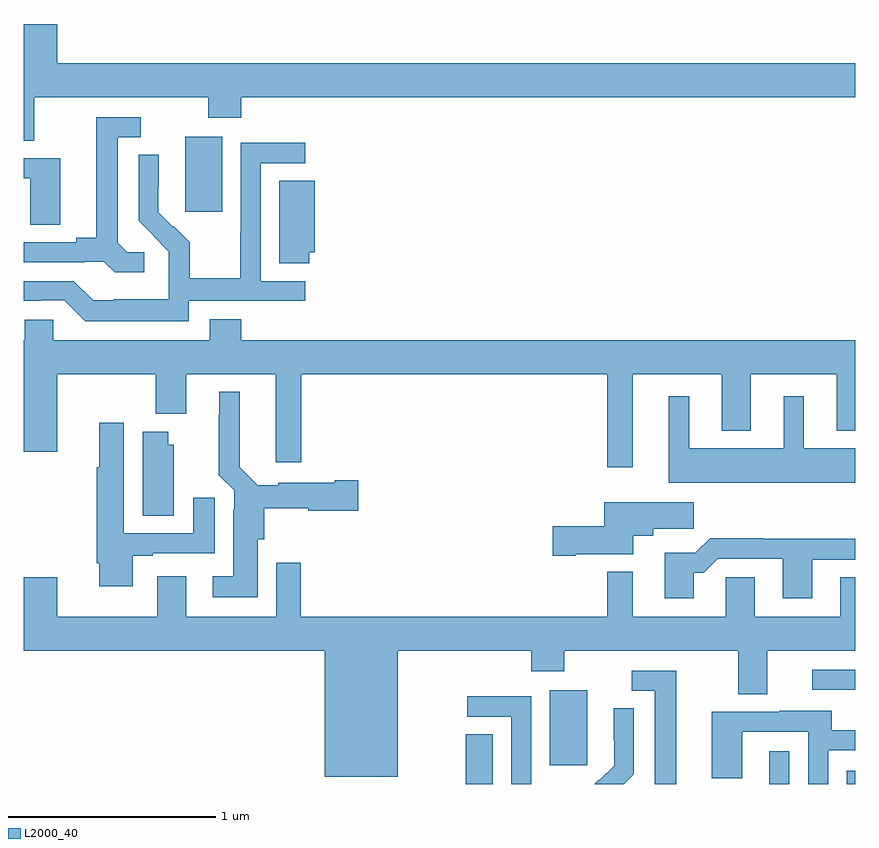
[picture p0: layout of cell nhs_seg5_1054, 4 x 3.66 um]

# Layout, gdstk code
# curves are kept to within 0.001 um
import gdstk
lib = gdstk.Library(unit=1e-6, precision=1e-09)
def R(c, l, rs):  # rectangles x0, y0, x1, y1
    for r in rs: c.add(gdstk.rectangle(r[:2], r[2:], *l))
def P(c, l, *ps):  # polygons
    for p in ps: c.add(gdstk.Polygon(p, *l))
L2000_40 = (2000, 40)

nhs_seg5_1054 = lib.new_cell('nhs_seg5_1054')
R(nhs_seg5_1054, L2000_40, [(179.126,842.799,179.257,843.038), (180.587,842.799,180.684,842.956), (180.96,842.799,181,842.862), (179.531,842.889,179.71,843.25), (180.795,843.252,181,843.348), (177.776,845.553,177.955,845.914)])
P(nhs_seg5_1054, L2000_40, [(177.049,846.104),(177.886,846.104),(177.886,846.005),(178.046,846.005),(178.046,846.104),(181,846.104),(181,846.268),(177.16,846.268),(177.16,846.457),(177,846.457),(177,845.896),(177.049,845.896)],
  [(177.58,845.358),(177.498,845.358),(177.451,845.405),(177.451,845.913),(177.562,845.913),(177.562,846.009),(177.347,846.009),(177.347,845.429),(177.251,845.429),(177.251,845.406),(177,845.406),(177,845.31),(177.29,845.31),(177.29,845.313),(177.384,845.313),(177.436,845.261),(177.58,845.261)],
  [(177.792,845.124),(178.354,845.124),(178.354,845.22),(178.14,845.22),(178.14,845.787),(178.354,845.787),(178.354,845.886),(178.044,845.886),(178.044,845.456),(178.042,845.456),(178.042,845.233),(177.797,845.233),(177.797,845.407),(177.72,845.484),(177.717,845.481),(177.647,845.552),(177.648,845.828),(177.552,845.828),(177.552,845.51),(177.698,845.362),(177.698,845.265),(177.696,845.265),(177.696,845.131),(177.433,845.131),(177.433,845.127),(177.333,845.127),(177.24,845.22),(177,845.22),(177,845.124),(177.08,845.124),(177.08,845.127),(177.195,845.127),(177.295,845.027),(177.792,845.027)],
  [(177.175,845.811),(177,845.811),(177,845.715),(177.03,845.715),(177.03,845.491),(177.175,845.491)],
  [(178.373,845.358),(178.4,845.358),(178.4,845.702),(178.229,845.702),(178.229,845.305),(178.373,845.305)],
  [(179.929,844.772),(180.359,844.772),(180.359,844.499),(180.499,844.499),(180.499,844.772),(180.911,844.772),(180.911,844.499),(181,844.499),(181,844.936),(178.046,844.936),(178.046,845.035),(177.893,845.035),(177.893,844.936),(177.141,844.936),(177.141,845.034),(177.003,845.034),(177.003,844.936),(177,844.936),(177,844.398),(177.16,844.398),(177.16,844.772),(177.634,844.772),(177.634,844.58),(177.781,844.58),(177.781,844.772),(178.211,844.772),(178.211,844.347),(178.334,844.347),(178.334,844.772),(179.808,844.772),(179.808,844.323),(179.929,844.323)],
  [(178.126,843.978),(178.157,843.978),(178.157,844.127),(178.368,844.127),(178.368,844.115),(178.609,844.115),(178.609,844.262),(178.496,844.262),(178.496,844.249),(178.224,844.249),(178.224,844.237),(178.125,844.237),(178.039,844.324),(178.039,844.687),(177.941,844.687),(177.941,844.577),(177.937,844.577),(177.937,844.286),(178.011,844.212),(178.011,844.118),(178.007,844.118),(178.007,843.799),(177.909,843.799),(177.909,843.698),(178.126,843.698)],
  [(181,844.414),(180.754,844.414),(180.754,844.666),(180.656,844.666),(180.656,844.414),(180.202,844.414),(180.202,844.666),(180.104,844.666),(180.104,844.25),(181,844.25)],
  [(177.523,843.897),(177.619,843.897),(177.619,843.909),(177.919,843.909),(177.919,844.177),(177.815,844.177),(177.815,844.005),(177.481,844.005),(177.481,844.537),(177.362,844.537),(177.362,844.324),(177.35,844.324),(177.35,843.862),(177.362,843.862),(177.362,843.75),(177.523,843.75)],
  [(177.721,844.431),(177.694,844.431),(177.694,844.495),(177.572,844.495),(177.572,844.09),(177.721,844.09)],
  [(179.656,843.905),(179.932,843.905),(179.932,843.995),(180.028,843.995),(180.028,844.027),(180.223,844.027),(180.223,844.156),(179.792,844.156),(179.792,844.04),(179.544,844.04),(179.544,843.898),(179.656,843.898)],
  [(180.223,843.815),(180.272,843.815),(180.339,843.882),(180.653,843.882),(180.653,843.693),(180.793,843.693),(180.793,843.879),(181,843.879),(181,843.98),(180.557,843.98),(180.557,843.983),(180.302,843.983),(180.232,843.913),(180.083,843.913),(180.083,843.693),(180.223,843.693)],
  [(178.331,843.865),(178.215,843.865),(178.215,843.604),(177.781,843.604),(177.781,843.799),(177.641,843.799),(177.641,843.604),(177.16,843.604),(177.16,843.793),(177,843.793),(177,843.44),(178.448,843.44),(178.448,842.834),(178.798,842.834),(178.798,843.44),(179.441,843.44),(179.441,843.341),(179.601,843.341),(179.601,843.44),(180.437,843.44),(180.437,843.232),(180.577,843.232),(180.577,843.44),(181,843.44),(181,843.794),(180.929,843.794),(180.929,843.604),(180.517,843.604),(180.517,843.794),(180.378,843.794),(180.378,843.604),(179.929,843.604),(179.929,843.82),(179.808,843.82),(179.808,843.604),(178.331,843.604)],
  [(180.139,843.345),(179.925,843.345),(179.925,843.249),(180.035,843.249),(180.035,842.799),(180.139,842.799)],
  [(179.442,843.222),(179.133,843.222),(179.133,843.123),(179.346,843.123),(179.346,842.799),(179.442,842.799)],
  [(179.934,842.846),(179.934,843.164),(179.838,843.164),(179.838,843.01),(179.84,843.01),(179.84,842.888),(179.769,842.817),(179.766,842.82),(179.745,842.799),(179.887,842.799)],
  [(180.87,842.961),(181,842.961),(181,843.057),(180.889,843.057),(180.889,843.151),(180.635,843.151),(180.635,843.147),(180.311,843.147),(180.311,842.827),(180.456,842.827),(180.456,843.051),(180.774,843.051),(180.774,842.799),(180.87,842.799)])

lib.write_gds('nhs_seg5_1054.gds')
